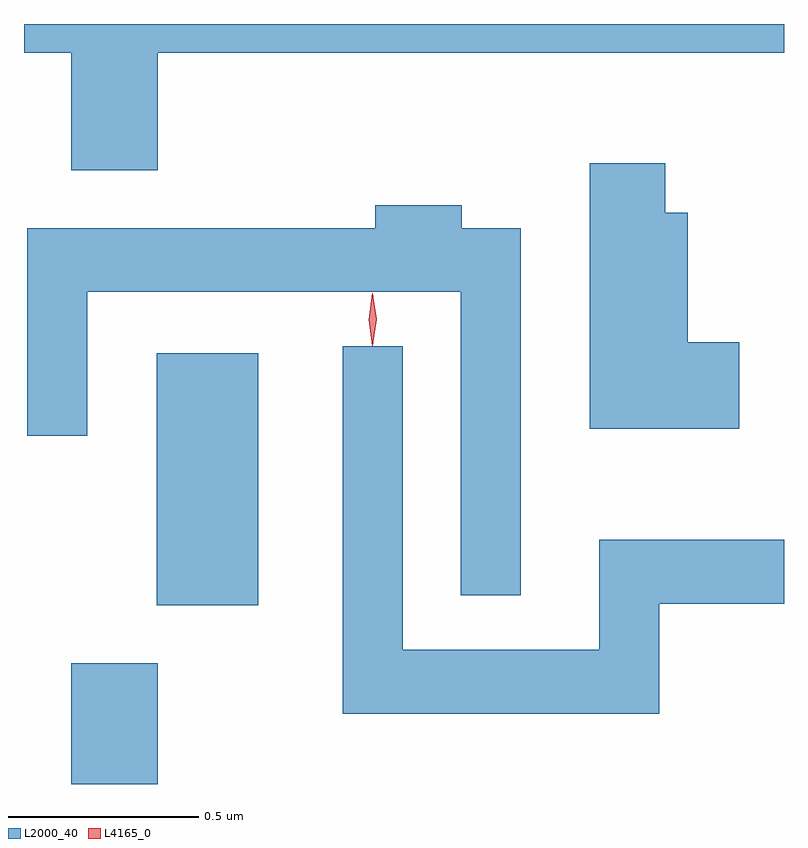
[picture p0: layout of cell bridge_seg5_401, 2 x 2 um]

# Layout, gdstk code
import gdstk
lib = gdstk.Library(unit=1e-6, precision=1e-09)
def R(c, l, rs):  # rectangles x0, y0, x1, y1
    for r in rs: c.add(gdstk.rectangle(r[:2], r[2:], *l))
def P(c, l, *ps):  # polygons
    for p in ps: c.add(gdstk.Polygon(p, *l))
L2000_40 = (2000, 40)
L4165_0 = (4165, 0)

bridge_seg5_401 = lib.new_cell('bridge_seg5_401')
R(bridge_seg5_401, L2000_40, [(398.561,1492.611,398.789,1492.929), (398.786,1493.081,399.054,1493.744)])
P(bridge_seg5_401, L2000_40, [(398.789,1494.536),(400.437,1494.536),(400.437,1494.611),(398.437,1494.611),(398.437,1494.536),(398.561,1494.536),(398.561,1494.226),(398.789,1494.226)],
  [(400.319,1493.774),(400.184,1493.774),(400.184,1494.114),(400.124,1494.114),(400.124,1494.244),(399.926,1494.244),(399.926,1493.546),(400.319,1493.546)],
  [(399.744,1494.074),(399.589,1494.074),(399.589,1494.134),(399.361,1494.134),(399.361,1494.074),(398.446,1494.074),(398.446,1493.528),(398.604,1493.528),(398.604,1493.906),(399.586,1493.906),(399.586,1493.108),(399.744,1493.108)],
  [(400.109,1493.086),(400.437,1493.086),(400.437,1493.254),(399.951,1493.254),(399.951,1492.964),(399.434,1492.964),(399.434,1493.763),(399.276,1493.763),(399.276,1492.796),(400.109,1492.796)])
P(bridge_seg5_401, L4165_0, [(399.354,1493.767),(399.345,1493.834),(399.354,1493.9),(399.355,1493.9),(399.355,1493.9),(399.365,1493.834),(399.355,1493.767),(399.355,1493.767)],
  [(399.354,1493.764),(399.354,1493.764),(399.344,1493.833),(399.354,1493.902),(399.354,1493.903),(399.355,1493.902),(399.364,1493.833),(399.355,1493.764)])

lib.write_gds('bridge_seg5_401.gds')
